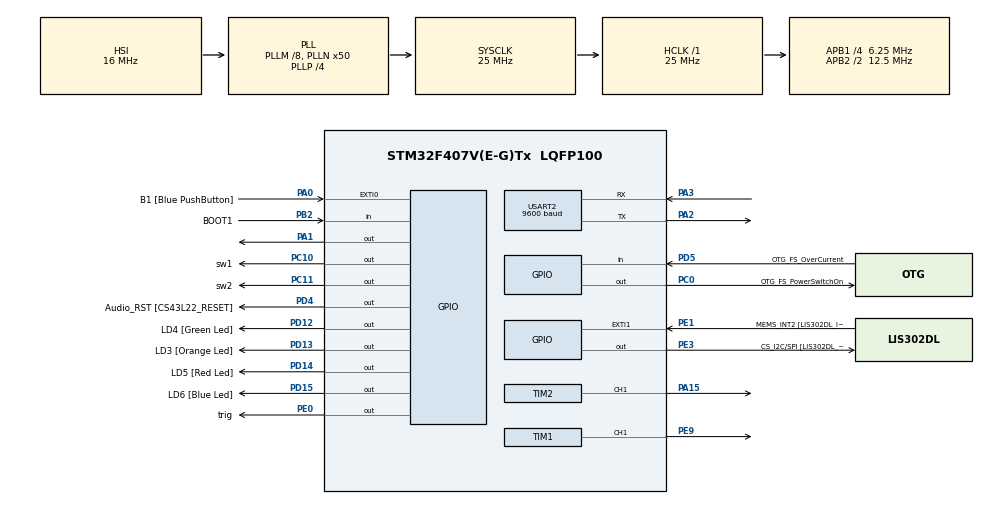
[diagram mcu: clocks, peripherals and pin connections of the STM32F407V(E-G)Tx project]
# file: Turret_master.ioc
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Mcu.Family=STM32F4
Mcu.Name=STM32F407V(E-G)Tx
Mcu.Package=LQFP100
NVIC.PriorityGroup=NVIC_PRIORITYGROUP_0
NVIC.USART2_IRQn=true\:0\:0\:false\:false\:true\:true\:true\:true
PA0-WKUP.GPIO_Label=B1 [Blue PushButton]
PA0-WKUP.Signal=GPXTI0
PA1.Signal=GPIO_Output
PA10.GPIO_Label=OTG_FS_ID
PA10.GPIO_Mode=GPIO_MODE_AF_PP
PA10.GPIO_PuPd=GPIO_NOPULL
PA10.GPIO_Speed=GPIO_SPEED_FREQ_LOW
PA10.Signal=USB_OTG_FS_ID
PA11.GPIO_Label=OTG_FS_DM
PA11.GPIO_Mode=GPIO_MODE_AF_PP
PA11.GPIO_PuPd=GPIO_NOPULL
PA11.GPIO_Speed=GPIO_SPEED_FREQ_LOW
PA11.Signal=USB_OTG_FS_DM
PA12.GPIO_Label=OTG_FS_DP
PA12.GPIO_Mode=GPIO_MODE_AF_PP
PA12.GPIO_PuPd=GPIO_NOPULL
PA12.GPIO_Speed=GPIO_SPEED_FREQ_LOW
PA12.Signal=USB_OTG_FS_DP
PA13.GPIO_Label=SWDIO
PA13.Signal=SYS_JTMS-SWDIO
PA14.GPIO_Label=SWCLK
PA14.Signal=SYS_JTCK-SWCLK
PA15.Signal=S_TIM2_CH1_ETR
PA2.Mode=Asynchronous
PA2.Signal=USART2_TX
PA3.Mode=Asynchronous
PA3.Signal=USART2_RX
PA4.GPIO_Label=I2S3_WS [CS43L22_LRCK]
PA4.GPIO_Mode=GPIO_MODE_AF_PP
PA4.GPIO_PuPd=GPIO_NOPULL
PA4.GPIO_Speed=GPIO_SPEED_FREQ_LOW
PA4.Signal=I2S3_WS
PA5.GPIO_Label=SPI1_SCK [LIS302DL_SCL/SPC]
PA5.GPIO_Mode=GPIO_MODE_AF_PP
PA5.GPIO_PuPd=GPIO_NOPULL
PA5.GPIO_Speed=GPIO_SPEED_FREQ_LOW
PA5.Signal=SPI1_SCK
PA6.GPIO_Label=SPI1_MISO [LIS302DL_SDO]
PA6.GPIO_Mode=GPIO_MODE_AF_PP
PA6.GPIO_PuPd=GPIO_NOPULL
PA6.GPIO_Speed=GPIO_SPEED_FREQ_LOW
PA6.Signal=SPI1_MISO
PA7.GPIO_Label=SPI1_MOSI [LIS302DL_SDA/SDI/SDO]
PA7.GPIO_Mode=GPIO_MODE_AF_PP
PA7.GPIO_PuPd=GPIO_NOPULL
PA7.GPIO_Speed=GPIO_SPEED_FREQ_LOW
PA7.Signal=SPI1_MOSI
PA9.GPIO_Label=VBUS_FS
PA9.GPIO_Mode=GPIO_MODE_INPUT
PA9.GPIO_PuPd=GPIO_NOPULL
PA9.Signal=USB_OTG_FS_VBUS
PB10.GPIO_Label=CLK_IN [MP45DT02_CLK]
PB10.GPIO_Mode=GPIO_MODE_AF_PP
PB10.GPIO_PuPd=GPIO_NOPULL
PB10.GPIO_Speed=GPIO_SPEED_FREQ_LOW
PB10.Signal=I2S2_CK
PB2.GPIO_Label=BOOT1
PB2.GPIO_Mode=GPIO_MODE_INPUT
PB2.GPIO_PuPd=GPIO_NOPULL
PB2.Signal=GPIO_Input
PB3.GPIO_Label=SWO
PB3.Signal=SYS_JTDO-SWO
PB6.GPIO_Label=Audio_SCL [CS43L22_SCL]
PB6.GPIO_Mode=GPIO_MODE_AF_OD
PB6.GPIO_PuPd=GPIO_NOPULL
PB6.GPIO_Speed=GPIO_SPEED_FREQ_LOW
PB6.Signal=I2C1_SCL
PB9.GPIO_Label=Audio_SDA [CS43L22_SDA]
PB9.GPIO_Mode=GPIO_MODE_AF_OD
PB9.GPIO_PuPd=GPIO_NOPULL
PB9.GPIO_Speed=GPIO_SPEED_FREQ_LOW
PB9.Signal=I2C1_SDA
PC0.GPIO_Label=OTG_FS_PowerSwitchOn
PC0.GPIO_PuPd=GPIO_NOPULL
PC0.GPIO_Speed=GPIO_SPEED_FREQ_LOW
PC0.PinState=GPIO_PIN_SET
PC0.Signal=GPIO_Output
PC10.GPIO_Label=sw1
PC10.Signal=GPIO_Output
PC11.GPIO_Label=sw2
PC11.Signal=GPIO_Output
PC12.GPIO_Label=I2S3_SD [CS43L22_SDIN]
PC12.GPIO_Mode=GPIO_MODE_AF_PP
PC12.GPIO_PuPd=GPIO_NOPULL
PC12.GPIO_Speed=GPIO_SPEED_FREQ_LOW
PC12.Signal=I2S3_SD
PC14-OSC32_IN.GPIO_Label=PC14-OSC32_IN
PC14-OSC32_IN.Signal=RCC_OSC32_IN
PC15-OSC32_OUT.GPIO_Label=PC15-OSC32_OUT
PC15-OSC32_OUT.Signal=RCC_OSC32_OUT
PC3.GPIO_Label=PDM_OUT [MP45DT02_DOUT]
PC3.GPIO_Mode=GPIO_MODE_AF_PP
PC3.GPIO_PuPd=GPIO_NOPULL
PC3.GPIO_Speed=GPIO_SPEED_FREQ_LOW
PC3.Signal=I2S2_SD
PC7.GPIO_Label=I2S3_MCK [CS43L22_MCLK]
PC7.GPIO_Mode=GPIO_MODE_AF_PP
PC7.GPIO_PuPd=GPIO_NOPULL
PC7.GPIO_Speed=GPIO_SPEED_FREQ_LOW
PC7.Signal=I2S3_MCK
PD12.GPIO_Label=LD4 [Green Led]
PD12.GPIO_PuPd=GPIO_NOPULL
PD12.GPIO_Speed=GPIO_SPEED_FREQ_LOW
PD12.Signal=GPIO_Output
PD13.GPIO_Label=LD3 [Orange Led]
PD13.GPIO_PuPd=GPIO_NOPULL
PD13.GPIO_Speed=GPIO_SPEED_FREQ_LOW
PD13.Signal=GPIO_Output
PD14.GPIO_Label=LD5 [Red Led]
PD14.GPIO_PuPd=GPIO_NOPULL
PD14.GPIO_Speed=GPIO_SPEED_FREQ_LOW
PD14.Signal=GPIO_Output
PD15.GPIO_Label=LD6 [Blue Led]
PD15.GPIO_PuPd=GPIO_NOPULL
PD15.GPIO_Speed=GPIO_SPEED_FREQ_LOW
PD15.Signal=GPIO_Output
PD4.GPIO_Label=Audio_RST [CS43L22_RESET]
PD4.GPIO_PuPd=GPIO_NOPULL
PD4.GPIO_Speed=GPIO_SPEED_FREQ_LOW
PD4.Signal=GPIO_Output
PD5.GPIO_Label=OTG_FS_OverCurrent
PD5.GPIO_Mode=GPIO_MODE_INPUT
PD5.GPIO_PuPd=GPIO_NOPULL
PD5.Signal=GPIO_Input
PE0.GPIO_Label=trig
PE0.Signal=GPIO_Output
PE1.GPIO_Label=MEMS_INT2 [LIS302DL_INT2]
PE1.GPIO_ModeDefaultEXTI=GPIO_MODE_EVT_RISING
PE1.GPIO_PuPd=GPIO_NOPULL
PE1.Signal=GPXTI1
PE3.GPIO_Label=CS_I2C/SPI [LIS302DL_CS_I2C/SPI]
PE3.GPIO_PuPd=GPIO_NOPULL
PE3.GPIO_Speed=GPIO_SPEED_FREQ_LOW
PE3.Signal=GPIO_Output
PE9.Signal=S_TIM1_CH1
PH0-OSC_IN.GPIO_Label=PH0-OSC_IN
PH0-OSC_IN.Signal=RCC_OSC_IN
PH1-OSC_OUT.GPIO_Label=PH1-OSC_OUT
PH1-OSC_OUT.Signal=RCC_OSC_OUT
ProjectManager.HeapSize=0x200
ProjectManager.StackSize=0x400
ProjectManager.TargetToolchain=STM32CubeIDE
RCC.48MHZClocksFreq_Value=14285714.285714285
RCC.AHBFreq_Value=25000000
RCC.APB1CLKDivider=RCC_HCLK_DIV4
RCC.APB1Freq_Value=6250000
RCC.APB1TimFreq_Value=12500000
RCC.APB2CLKDivider=RCC_HCLK_DIV2
RCC.APB2Freq_Value=12500000
RCC.APB2TimFreq_Value=25000000
RCC.CortexFreq_Value=25000000
RCC.HCLKFreq_Value=25000000
RCC.HSE_VALUE=8000000
RCC.HSI_VALUE=16000000
RCC.LSE_VALUE=32768
RCC.PLLM=8
RCC.PLLN=50
RCC.PLLP=RCC_PLLP_DIV4
RCC.PLLQ=7
RCC.SYSCLKFreq_VALUE=25000000
RCC.SYSCLKSource=RCC_SYSCLKSOURCE_PLLCLK
RCC.VCOOutputFreq_Value=100000000
SH.S_TIM1_CH1.0=TIM1_CH1,PWM Generation1 CH1
SH.S_TIM2_CH1_ETR.0=TIM2_CH1,PWM Generation1 CH1
TIM1.Channel-PWM\ Generation1\ CH1=TIM_CHANNEL_1
TIM2.Channel-PWM\ Generation1\ CH1=TIM_CHANNEL_1
USART2.BaudRate=9600
USART2.VirtualMode=VM_ASYNC
VP_TIM1_VS_ClockSourceINT.Mode=Internal
VP_TIM2_VS_ClockSourceINT.Mode=Internal
board=STM32F407G-DISC1

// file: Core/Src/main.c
/* USER CODE BEGIN Header */
/**
 ******************************************************************************
 * @file           : main.c
 * @brief          : Main program body
 ******************************************************************************
 * @attention
 *
 * Copyright (c) 2024 STMicroelectronics.
 * All rights reserved.
 *
 * This software is licensed under terms that can be found in the LICENSE file
 * in the root directory of this software component.
 * If no LICENSE file comes with this software, it is provided AS-IS.
 *
 ******************************************************************************
 */
/* USER CODE END Header */
#include "main.h"

/* USER CODE BEGIN Includes */

#include "gamepad_logic.h"

/* USER CODE END Includes */

TIM_HandleTypeDef htim1;
TIM_HandleTypeDef htim2;

UART_HandleTypeDef huart2;

/* USER CODE BEGIN PV */

uint8_t rx_data;

/* USER CODE END PV */

void SystemClock_Config(void);
static void MX_GPIO_Init(void);
static void MX_USART2_UART_Init(void);
static void MX_TIM2_Init(void);
static void MX_TIM1_Init(void);

/* USER CODE BEGIN 0 */

void HAL_UART_RxCpltCallback(UART_HandleTypeDef *huart) {
	if (huart->Instance == USART2) {
		gamepad_procesByte(&rx_data);
		HAL_UART_Receive_IT(huart, &rx_data, 1);
	}
}

float convertToDeltaAngle(int32_t controllerValue, uint32_t deltaT) {
	float leftY = -30.0f;
	float rightY = 30.0f;

	float leftX = 512.0f;
	float rightX = -512.0f;

	float omega = (controllerValue - leftX) / (rightX - leftX)
			* (rightY - leftY) + leftY;

	return omega * deltaT / 1000.0f;
}

uint32_t convertAngleToPWM(float angle) {
	float leftY = 3125.0f;
	float rightY = 6250.0f;

	float leftX = -60.0f;
	float rightX = 60.0f;

	float y = (angle - leftX) / (rightX - leftX) * (rightY - leftY) + leftY;

	return (uint32_t) y;
}

float clamp(float x, float min, float max) {
	if (x <= min) {
		return min;
	} else if (x >= max) {
		return max;
	} else {
		return x;
	}
}

/* USER CODE END 0 */

int main(void) {

	/* MCU Configuration--------------------------------------------------------*/

	/* Reset of all peripherals, Initializes the Flash interface and the Systick. */
	HAL_Init();

	/* Configure the system clock */
	SystemClock_Config();

	/* Initialize all configured peripherals */
	MX_GPIO_Init();
	MX_USART2_UART_Init();
	MX_TIM2_Init();
	MX_TIM1_Init();
	/* USER CODE BEGIN 2 */

	HAL_UART_Receive_IT(&huart2, &rx_data, 1);

	HAL_TIM_PWM_Start(&htim1, TIM_CHANNEL_1);

	htim1.Instance->PSC = 7;
	htim1.Instance->ARR = 62500;
	htim1.Instance->CCR1 = convertAngleToPWM(0.0f);
	htim1.Instance->EGR |= 0x01;

	HAL_TIM_PWM_Start(&htim2, TIM_CHANNEL_1);

	htim2.Instance->ARR = 28500;
	htim2.Instance->CCR1 = 25;
	htim2.Instance->EGR |= 0x01;

	HAL_GPIO_WritePin(GPIOA, GPIO_PIN_1, GPIO_PIN_RESET);

	float pitch = 0.0f;

	uint8_t firstTime = 1;
	uint32_t lastT = 0;
	uint32_t lastPWM = convertAngleToPWM(0.0f);

	/* USER CODE END 2 */

	/* Infinite loop */
	/* USER CODE BEGIN WHILE */
	while (1) {

		gamepad_waitForData();

		int32_t x = gamepad_input.gamepadInfo.axisRX;
		int32_t y = gamepad_input.gamepadInfo.axisRY;
		uint8_t btnA = gamepad_input.gamepadInfo.buttons & 0x01;
		uint8_t btnRB = gamepad_input.gamepadInfo.buttons & 0x20;

		uint8_t sw1 = HAL_GPIO_ReadPin(GPIOC, GPIO_PIN_10);
		uint8_t sw2 = HAL_GPIO_ReadPin(GPIOC, GPIO_PIN_11);

		// stepper control (yaw)
		if (x > 0) {
			HAL_GPIO_WritePin(GPIOA, GPIO_PIN_1, GPIO_PIN_SET);
		} else if (x < 0) {
			HAL_GPIO_WritePin(GPIOA, GPIO_PIN_1, GPIO_PIN_RESET);
		}

		if (x == 0 && htim2.Instance->CCR1 != 0 || x > 0 && !sw2
				|| x < 0 && !sw1) {
			htim2.Instance->CCR1 = 0;
			htim2.Instance->EGR |= 0x01;
		} else if (x != 0 && htim2.Instance->CCR1 == 0) {
			htim2.Instance->CCR1 = 25;
			htim2.Instance->ARR = 28500;
			htim2.Instance->EGR |= 0x01;
		}

		// servo control (pitch)
		if (firstTime) {
			firstTime = 0;
			lastT = HAL_GetTick();
		} else {
			uint32_t currentT = HAL_GetTick();

			float delta = convertToDeltaAngle(y, currentT - lastT);
			pitch = clamp(pitch + delta, -60.0f, 60.0f);

			uint32_t currentPWM = convertAngleToPWM(pitch);
			if (currentPWM != lastPWM) {
				htim1.Instance->CCR1 = currentPWM;
				htim1.Instance->EGR |= 0x01;
			}

			lastPWM = currentPWM;
			lastT = currentT;
		}

		// trigger control
		HAL_GPIO_WritePin(GPIOE, GPIO_PIN_0,
				(btnA || btnRB ? GPIO_PIN_SET : GPIO_PIN_RESET));

		gamepad_enableNewData();

		/* USER CODE END WHILE */

	}
}

void SystemClock_Config(void) {
	RCC_OscInitTypeDef RCC_OscInitStruct = { 0 };
	RCC_ClkInitTypeDef RCC_ClkInitStruct = { 0 };

	/** Configure the main internal regulator output voltage
	 */
	__HAL_RCC_PWR_CLK_ENABLE();
	__HAL_PWR_VOLTAGESCALING_CONFIG(PWR_REGULATOR_VOLTAGE_SCALE1);

	/** Initializes the RCC Oscillators according to the specified parameters
	 * in the RCC_OscInitTypeDef structure.
	 */
	RCC_OscInitStruct.OscillatorType = RCC_OSCILLATORTYPE_HSI;
	RCC_OscInitStruct.HSIState = RCC_HSI_ON;
	RCC_OscInitStruct.HSICalibrationValue = RCC_HSICALIBRATION_DEFAULT;
	RCC_OscInitStruct.PLL.PLLState = RCC_PLL_ON;
	RCC_OscInitStruct.PLL.PLLSource = RCC_PLLSOURCE_HSI;
	RCC_OscInitStruct.PLL.PLLM = 8;
	RCC_OscInitStruct.PLL.PLLN = 50;
	RCC_OscInitStruct.PLL.PLLP = RCC_PLLP_DIV4;
	RCC_OscInitStruct.PLL.PLLQ = 7;
	if (HAL_RCC_OscConfig(&RCC_OscInitStruct) != HAL_OK) {
		Error_Handler();
	}

	/** Initializes the CPU, AHB and APB buses clocks
	 */
	RCC_ClkInitStruct.ClockType = RCC_CLOCKTYPE_HCLK | RCC_CLOCKTYPE_SYSCLK
			| RCC_CLOCKTYPE_PCLK1 | RCC_CLOCKTYPE_PCLK2;
	RCC_ClkInitStruct.SYSCLKSource = RCC_SYSCLKSOURCE_PLLCLK;
	RCC_ClkInitStruct.AHBCLKDivider = RCC_SYSCLK_DIV1;
	RCC_ClkInitStruct.APB1CLKDivider = RCC_HCLK_DIV4;
	RCC_ClkInitStruct.APB2CLKDivider = RCC_HCLK_DIV2;

	if (HAL_RCC_ClockConfig(&RCC_ClkInitStruct, FLASH_LATENCY_0) != HAL_OK) {
		Error_Handler();
	}
}

static void MX_TIM1_Init(void) {

	TIM_ClockConfigTypeDef sClockSourceConfig = { 0 };
	TIM_MasterConfigTypeDef sMasterConfig = { 0 };
	TIM_OC_InitTypeDef sConfigOC = { 0 };
	TIM_BreakDeadTimeConfigTypeDef sBreakDeadTimeConfig = { 0 };

	htim1.Instance = TIM1;
	htim1.Init.Prescaler = 0;
	htim1.Init.CounterMode = TIM_COUNTERMODE_UP;
	htim1.Init.Period = 65535;
	htim1.Init.ClockDivision = TIM_CLOCKDIVISION_DIV1;
	htim1.Init.RepetitionCounter = 0;
	htim1.Init.AutoReloadPreload = TIM_AUTORELOAD_PRELOAD_DISABLE;
	if (HAL_TIM_Base_Init(&htim1) != HAL_OK) {
		Error_Handler();
	}
	sClockSourceConfig.ClockSource = TIM_CLOCKSOURCE_INTERNAL;
	if (HAL_TIM_ConfigClockSource(&htim1, &sClockSourceConfig) != HAL_OK) {
		Error_Handler();
	}
	if (HAL_TIM_PWM_Init(&htim1) != HAL_OK) {
		Error_Handler();
	}
	sMasterConfig.MasterOutputTrigger = TIM_TRGO_RESET;
	sMasterConfig.MasterSlaveMode = TIM_MASTERSLAVEMODE_DISABLE;
	if (HAL_TIMEx_MasterConfigSynchronization(&htim1, &sMasterConfig)
			!= HAL_OK) {
		Error_Handler();
	}
	sConfigOC.OCMode = TIM_OCMODE_PWM1;
	sConfigOC.Pulse = 0;
	sConfigOC.OCPolarity = TIM_OCPOLARITY_HIGH;
	sConfigOC.OCNPolarity = TIM_OCNPOLARITY_HIGH;
	sConfigOC.OCFastMode = TIM_OCFAST_DISABLE;
	sConfigOC.OCIdleState = TIM_OCIDLESTATE_RESET;
	sConfigOC.OCNIdleState = TIM_OCNIDLESTATE_RESET;
	if (HAL_TIM_PWM_ConfigChannel(&htim1, &sConfigOC, TIM_CHANNEL_1)
			!= HAL_OK) {
		Error_Handler();
	}
	sBreakDeadTimeConfig.OffStateRunMode = TIM_OSSR_DISABLE;
	sBreakDeadTimeConfig.OffStateIDLEMode = TIM_OSSI_DISABLE;
	sBreakDeadTimeConfig.LockLevel = TIM_LOCKLEVEL_OFF;
	sBreakDeadTimeConfig.DeadTime = 0;
	sBreakDeadTimeConfig.BreakState = TIM_BREAK_DISABLE;
	sBreakDeadTimeConfig.BreakPolarity = TIM_BREAKPOLARITY_HIGH;
	sBreakDeadTimeConfig.AutomaticOutput = TIM_AUTOMATICOUTPUT_DISABLE;
	if (HAL_TIMEx_ConfigBreakDeadTime(&htim1, &sBreakDeadTimeConfig)
			!= HAL_OK) {
		Error_Handler();
	}
	HAL_TIM_MspPostInit(&htim1);

}

static void MX_TIM2_Init(void) {

	TIM_ClockConfigTypeDef sClockSourceConfig = { 0 };
	TIM_MasterConfigTypeDef sMasterConfig = { 0 };
	TIM_OC_InitTypeDef sConfigOC = { 0 };

	htim2.Instance = TIM2;
	htim2.Init.Prescaler = 0;
	htim2.Init.CounterMode = TIM_COUNTERMODE_UP;
	htim2.Init.Period = 4294967295;
	htim2.Init.ClockDivision = TIM_CLOCKDIVISION_DIV1;
	htim2.Init.AutoReloadPreload = TIM_AUTORELOAD_PRELOAD_DISABLE;
	if (HAL_TIM_Base_Init(&htim2) != HAL_OK) {
		Error_Handler();
	}
	sClockSourceConfig.ClockSource = TIM_CLOCKSOURCE_INTERNAL;
	if (HAL_TIM_ConfigClockSource(&htim2, &sClockSourceConfig) != HAL_OK) {
		Error_Handler();
	}
	if (HAL_TIM_PWM_Init(&htim2) != HAL_OK) {
		Error_Handler();
	}
	sMasterConfig.MasterOutputTrigger = TIM_TRGO_RESET;
	sMasterConfig.MasterSlaveMode = TIM_MASTERSLAVEMODE_DISABLE;
	if (HAL_TIMEx_MasterConfigSynchronization(&htim2, &sMasterConfig)
			!= HAL_OK) {
		Error_Handler();
	}
	sConfigOC.OCMode = TIM_OCMODE_PWM1;
	sConfigOC.Pulse = 0;
	sConfigOC.OCPolarity = TIM_OCPOLARITY_HIGH;
	sConfigOC.OCFastMode = TIM_OCFAST_DISABLE;
	if (HAL_TIM_PWM_ConfigChannel(&htim2, &sConfigOC, TIM_CHANNEL_1)
			!= HAL_OK) {
		Error_Handler();
	}
	HAL_TIM_MspPostInit(&htim2);

}

static void MX_USART2_UART_Init(void) {

	huart2.Instance = USART2;
	huart2.Init.BaudRate = 9600;
	huart2.Init.WordLength = UART_WORDLENGTH_8B;
	huart2.Init.StopBits = UART_STOPBITS_1;
	huart2.Init.Parity = UART_PARITY_NONE;
	huart2.Init.Mode = UART_MODE_TX_RX;
	huart2.Init.HwFlowCtl = UART_HWCONTROL_NONE;
	huart2.Init.OverSampling = UART_OVERSAMPLING_16;
	if (HAL_UART_Init(&huart2) != HAL_OK) {
		Error_Handler();
	}

}

static void MX_GPIO_Init(void) {
	GPIO_InitTypeDef GPIO_InitStruct = { 0 };

	/* GPIO Ports Clock Enable */
	__HAL_RCC_GPIOE_CLK_ENABLE();
	__HAL_RCC_GPIOC_CLK_ENABLE();
	__HAL_RCC_GPIOH_CLK_ENABLE();
	__HAL_RCC_GPIOA_CLK_ENABLE();
	__HAL_RCC_GPIOB_CLK_ENABLE();
	__HAL_RCC_GPIOD_CLK_ENABLE();

	/*Configure GPIO pin Output Level */
	HAL_GPIO_WritePin(GPIOE, CS_I2C_SPI_Pin | trig_Pin, GPIO_PIN_RESET);

	/*Configure GPIO pin Output Level */
	HAL_GPIO_WritePin(OTG_FS_PowerSwitchOn_GPIO_Port, OTG_FS_PowerSwitchOn_Pin,
			GPIO_PIN_SET);

	/*Configure GPIO pin Output Level */
	HAL_GPIO_WritePin(GPIOA, GPIO_PIN_1, GPIO_PIN_RESET);

	/*Configure GPIO pin Output Level */
	HAL_GPIO_WritePin(GPIOD,
			LD4_Pin | LD3_Pin | LD5_Pin | LD6_Pin | Audio_RST_Pin,
			GPIO_PIN_RESET);

	/*Configure GPIO pin Output Level */
	HAL_GPIO_WritePin(GPIOC, sw1_Pin | sw2_Pin, GPIO_PIN_RESET);

	/*Configure GPIO pins : CS_I2C_SPI_Pin trig_Pin */
	GPIO_InitStruct.Pin = CS_I2C_SPI_Pin | trig_Pin;
	GPIO_InitStruct.Mode = GPIO_MODE_OUTPUT_PP;
	GPIO_InitStruct.Pull = GPIO_NOPULL;
	GPIO_InitStruct.Speed = GPIO_SPEED_FREQ_LOW;
	HAL_GPIO_Init(GPIOE, &GPIO_InitStruct);

	/*Configure GPIO pins : OTG_FS_PowerSwitchOn_Pin sw1_Pin sw2_Pin */
	GPIO_InitStruct.Pin = OTG_FS_PowerSwitchOn_Pin | sw1_Pin | sw2_Pin;
	GPIO_InitStruct.Mode = GPIO_MODE_OUTPUT_PP;
	GPIO_InitStruct.Pull = GPIO_NOPULL;
	GPIO_InitStruct.Speed = GPIO_SPEED_FREQ_LOW;
	HAL_GPIO_Init(GPIOC, &GPIO_InitStruct);

	/*Configure GPIO pin : PDM_OUT_Pin */
	GPIO_InitStruct.Pin = PDM_OUT_Pin;
	GPIO_InitStruct.Mode = GPIO_MODE_AF_PP;
	GPIO_InitStruct.Pull = GPIO_NOPULL;
	GPIO_InitStruct.Speed = GPIO_SPEED_FREQ_LOW;
	GPIO_InitStruct.Alternate = GPIO_AF5_SPI2;
	HAL_GPIO_Init(PDM_OUT_GPIO_Port, &GPIO_InitStruct);

	/*Configure GPIO pin : B1_Pin */
	GPIO_InitStruct.Pin = B1_Pin;
	GPIO_InitStruct.Mode = GPIO_MODE_IT_RISING;
	GPIO_InitStruct.Pull = GPIO_NOPULL;
	HAL_GPIO_Init(B1_GPIO_Port, &GPIO_InitStruct);

	/*Configure GPIO pin : PA1 */
	GPIO_InitStruct.Pin = GPIO_PIN_1;
	GPIO_InitStruct.Mode = GPIO_MODE_OUTPUT_PP;
	GPIO_InitStruct.Pull = GPIO_NOPULL;
	GPIO_InitStruct.Speed = GPIO_SPEED_FREQ_LOW;
	HAL_GPIO_Init(GPIOA, &GPIO_InitStruct);

	/*Configure GPIO pin : I2S3_WS_Pin */
	GPIO_InitStruct.Pin = I2S3_WS_Pin;
	GPIO_InitStruct.Mode = GPIO_MODE_AF_PP;
	GPIO_InitStruct.Pull = GPIO_NOPULL;
	GPIO_InitStruct.Speed = GPIO_SPEED_FREQ_LOW;
	GPIO_InitStruct.Alternate = GPIO_AF6_SPI3;
	HAL_GPIO_Init(I2S3_WS_GPIO_Port, &GPIO_InitStruct);

	/*Configure GPIO pins : SPI1_SCK_Pin SPI1_MISO_Pin SPI1_MOSI_Pin */
	GPIO_InitStruct.Pin = SPI1_SCK_Pin | SPI1_MISO_Pin | SPI1_MOSI_Pin;
	GPIO_InitStruct.Mode = GPIO_MODE_AF_PP;
	GPIO_InitStruct.Pull = GPIO_NOPULL;
	GPIO_InitStruct.Speed = GPIO_SPEED_FREQ_LOW;
	GPIO_InitStruct.Alternate = GPIO_AF5_SPI1;
	HAL_GPIO_Init(GPIOA, &GPIO_InitStruct);

	/*Configure GPIO pin : BOOT1_Pin */
	GPIO_InitStruct.Pin = BOOT1_Pin;
	GPIO_InitStruct.Mode = GPIO_MODE_INPUT;
	GPIO_InitStruct.Pull = GPIO_NOPULL;
	HAL_GPIO_Init(BOOT1_GPIO_Port, &GPIO_InitStruct);

	/*Configure GPIO pin : CLK_IN_Pin */
	GPIO_InitStruct.Pin = CLK_IN_Pin;
	GPIO_InitStruct.Mode = GPIO_MODE_AF_PP;
	GPIO_InitStruct.Pull = GPIO_NOPULL;
	GPIO_InitStruct.Speed = GPIO_SPEED_FREQ_LOW;
	GPIO_InitStruct.Alternate = GPIO_AF5_SPI2;
	HAL_GPIO_Init(CLK_IN_GPIO_Port, &GPIO_InitStruct);

	/*Configure GPIO pins : LD4_Pin LD3_Pin LD5_Pin LD6_Pin
	 Audio_RST_Pin */
	GPIO_InitStruct.Pin = LD4_Pin | LD3_Pin | LD5_Pin | LD6_Pin | Audio_RST_Pin;
	GPIO_InitStruct.Mode = GPIO_MODE_OUTPUT_PP;
	GPIO_InitStruct.Pull = GPIO_NOPULL;
	GPIO_InitStruct.Speed = GPIO_SPEED_FREQ_LOW;
	HAL_GPIO_Init(GPIOD, &GPIO_InitStruct);

	/*Configure GPIO pins : I2S3_MCK_Pin I2S3_SD_Pin */
	GPIO_InitStruct.Pin = I2S3_MCK_Pin | I2S3_SD_Pin;
	GPIO_InitStruct.Mode = GPIO_MODE_AF_PP;
	GPIO_InitStruct.Pull = GPIO_NOPULL;
	GPIO_InitStruct.Speed = GPIO_SPEED_FREQ_LOW;
	GPIO_InitStruct.Alternate = GPIO_AF6_SPI3;
	HAL_GPIO_Init(GPIOC, &GPIO_InitStruct);

	/*Configure GPIO pin : VBUS_FS_Pin */
	GPIO_InitStruct.Pin = VBUS_FS_Pin;
	GPIO_InitStruct.Mode = GPIO_MODE_INPUT;
	GPIO_InitStruct.Pull = GPIO_NOPULL;
	HAL_GPIO_Init(VBUS_FS_GPIO_Port, &GPIO_InitStruct);

	/*Configure GPIO pins : OTG_FS_ID_Pin OTG_FS_DM_Pin OTG_FS_DP_Pin */
	GPIO_InitStruct.Pin = OTG_FS_ID_Pin | OTG_FS_DM_Pin | OTG_FS_DP_Pin;
	GPIO_InitStruct.Mode = GPIO_MODE_AF_PP;
	GPIO_InitStruct.Pull = GPIO_NOPULL;
	GPIO_InitStruct.Speed = GPIO_SPEED_FREQ_LOW;
	GPIO_InitStruct.Alternate = GPIO_AF10_OTG_FS;
	HAL_GPIO_Init(GPIOA, &GPIO_InitStruct);

	/*Configure GPIO pin : OTG_FS_OverCurrent_Pin */
	GPIO_InitStruct.Pin = OTG_FS_OverCurrent_Pin;
	GPIO_InitStruct.Mode = GPIO_MODE_INPUT;
	GPIO_InitStruct.Pull = GPIO_NOPULL;
	HAL_GPIO_Init(OTG_FS_OverCurrent_GPIO_Port, &GPIO_InitStruct);

	/*Configure GPIO pins : Audio_SCL_Pin Audio_SDA_Pin */
	GPIO_InitStruct.Pin = Audio_SCL_Pin | Audio_SDA_Pin;
	GPIO_InitStruct.Mode = GPIO_MODE_AF_OD;
	GPIO_InitStruct.Pull = GPIO_NOPULL;
	GPIO_InitStruct.Speed = GPIO_SPEED_FREQ_LOW;
	GPIO_InitStruct.Alternate = GPIO_AF4_I2C1;
	HAL_GPIO_Init(GPIOB, &GPIO_InitStruct);

	/*Configure GPIO pin : MEMS_INT2_Pin */
	GPIO_InitStruct.Pin = MEMS_INT2_Pin;
	GPIO_InitStruct.Mode = GPIO_MODE_EVT_RISING;
	GPIO_InitStruct.Pull = GPIO_NOPULL;
	HAL_GPIO_Init(MEMS_INT2_GPIO_Port, &GPIO_InitStruct);

}

void Error_Handler(void) {
	__disable_irq();
	while (1) {
	}
}
